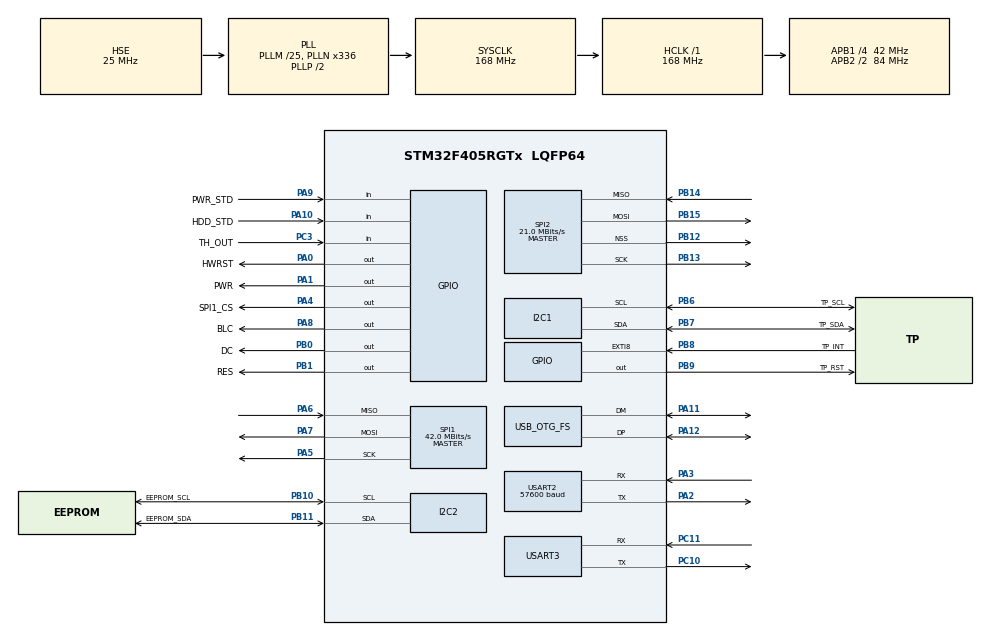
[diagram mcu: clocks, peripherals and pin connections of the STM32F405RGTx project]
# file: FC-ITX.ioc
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Dma.Request0=USART3_RX
Dma.Request1=USART2_RX
Dma.Request2=SPI1_TX
Dma.SPI1_TX.2.Direction=DMA_MEMORY_TO_PERIPH
Dma.SPI1_TX.2.FIFOMode=DMA_FIFOMODE_DISABLE
Dma.SPI1_TX.2.Instance=DMA2_Stream3
Dma.SPI1_TX.2.MemDataAlignment=DMA_MDATAALIGN_BYTE
Dma.SPI1_TX.2.MemInc=DMA_MINC_ENABLE
Dma.SPI1_TX.2.Mode=DMA_NORMAL
Dma.SPI1_TX.2.PeriphDataAlignment=DMA_PDATAALIGN_BYTE
Dma.SPI1_TX.2.PeriphInc=DMA_PINC_DISABLE
Dma.SPI1_TX.2.Priority=DMA_PRIORITY_VERY_HIGH
Dma.USART2_RX.1.Direction=DMA_PERIPH_TO_MEMORY
Dma.USART2_RX.1.FIFOMode=DMA_FIFOMODE_DISABLE
Dma.USART2_RX.1.Instance=DMA1_Stream5
Dma.USART2_RX.1.MemDataAlignment=DMA_MDATAALIGN_BYTE
Dma.USART2_RX.1.MemInc=DMA_MINC_ENABLE
Dma.USART2_RX.1.Mode=DMA_NORMAL
Dma.USART2_RX.1.PeriphDataAlignment=DMA_PDATAALIGN_BYTE
Dma.USART2_RX.1.PeriphInc=DMA_PINC_DISABLE
Dma.USART2_RX.1.Priority=DMA_PRIORITY_LOW
Dma.USART3_RX.0.Direction=DMA_PERIPH_TO_MEMORY
Dma.USART3_RX.0.FIFOMode=DMA_FIFOMODE_DISABLE
Dma.USART3_RX.0.Instance=DMA1_Stream1
Dma.USART3_RX.0.MemDataAlignment=DMA_MDATAALIGN_BYTE
Dma.USART3_RX.0.MemInc=DMA_MINC_ENABLE
Dma.USART3_RX.0.Mode=DMA_NORMAL
Dma.USART3_RX.0.PeriphDataAlignment=DMA_PDATAALIGN_BYTE
Dma.USART3_RX.0.PeriphInc=DMA_PINC_DISABLE
Dma.USART3_RX.0.Priority=DMA_PRIORITY_LOW
Mcu.Family=STM32F4
Mcu.Name=STM32F405RGTx
Mcu.Package=LQFP64
NVIC.DMA1_Stream1_IRQn=true\:0\:0\:false\:false\:true\:false\:true\:true
NVIC.DMA1_Stream5_IRQn=true\:0\:0\:false\:false\:true\:false\:true\:true
NVIC.DMA2_Stream3_IRQn=true\:0\:0\:false\:false\:true\:false\:true\:true
NVIC.EXTI9_5_IRQn=true\:0\:0\:false\:false\:true\:true\:true\:true
NVIC.I2C1_ER_IRQn=true\:0\:0\:false\:false\:true\:true\:true\:true
NVIC.I2C1_EV_IRQn=true\:0\:0\:false\:false\:true\:true\:true\:true
NVIC.I2C2_ER_IRQn=true\:0\:0\:false\:false\:true\:true\:true\:true
NVIC.I2C2_EV_IRQn=true\:0\:0\:false\:false\:true\:true\:true\:true
NVIC.OTG_FS_IRQn=true\:0\:0\:false\:false\:true\:false\:true\:true
NVIC.PriorityGroup=NVIC_PRIORITYGROUP_4
NVIC.TIM6_DAC_IRQn=true\:1\:0\:true\:false\:true\:true\:true\:true
NVIC.TIM7_IRQn=true\:0\:0\:false\:false\:true\:true\:true\:true
NVIC.USART2_IRQn=true\:0\:0\:false\:false\:true\:true\:true\:true
NVIC.USART3_IRQn=true\:0\:0\:false\:false\:true\:true\:true\:true
PA0-WKUP.GPIO_Label=HWRST
PA0-WKUP.Signal=GPIO_Output
PA1.GPIO_Label=PWR
PA1.Signal=GPIO_Output
PA10.GPIO_Label=HDD_STD
PA10.Signal=GPIO_Input
PA11.Mode=Device_Only
PA11.Signal=USB_OTG_FS_DM
PA12.Mode=Device_Only
PA12.Signal=USB_OTG_FS_DP
PA2.Mode=Asynchronous
PA2.Signal=USART2_TX
PA3.GPIO_PuPd=GPIO_PULLUP
PA3.Mode=Asynchronous
PA3.Signal=USART2_RX
PA4.GPIO_Label=SPI1_CS
PA4.GPIO_PuPd=GPIO_PULLUP
PA4.PinState=GPIO_PIN_SET
PA4.Signal=GPIO_Output
PA5.Mode=Full_Duplex_Master
PA5.Signal=SPI1_SCK
PA6.Mode=Full_Duplex_Master
PA6.Signal=SPI1_MISO
PA7.Mode=Full_Duplex_Master
PA7.Signal=SPI1_MOSI
PA8.GPIO_Label=BLC
PA8.GPIO_ModeDefaultOutputPP=GPIO_MODE_OUTPUT_PP
PA8.GPIO_PuPd=GPIO_PULLDOWN
PA8.Signal=GPIO_Output
PA9.GPIO_Label=PWR_STD
PA9.Signal=GPIO_Input
PB0.GPIO_Label=DC
PB0.GPIO_PuPd=GPIO_PULLUP
PB0.Signal=GPIO_Output
PB1.GPIO_Label=RES
PB1.GPIO_PuPd=GPIO_PULLUP
PB1.PinState=GPIO_PIN_SET
PB1.Signal=GPIO_Output
PB10.GPIO_Label=EEPROM_SCL
PB10.Mode=I2C
PB10.Signal=I2C2_SCL
PB11.GPIO_Label=EEPROM_SDA
PB11.Mode=I2C
PB11.Signal=I2C2_SDA
PB12.Mode=NSS_Signal_Hard_Output
PB12.Signal=SPI2_NSS
PB13.Mode=Full_Duplex_Master
PB13.Signal=SPI2_SCK
PB14.Mode=Full_Duplex_Master
PB14.Signal=SPI2_MISO
PB15.Mode=Full_Duplex_Master
PB15.Signal=SPI2_MOSI
PB6.GPIO_Label=TP_SCL
PB6.GPIO_Pu=GPIO_PULLUP
PB6.Mode=I2C
PB6.Signal=I2C1_SCL
PB7.GPIO_Label=TP_SDA
PB7.GPIO_Pu=GPIO_PULLUP
PB7.Mode=I2C
PB7.Signal=I2C1_SDA
PB8.GPIO_Label=TP_INT
PB8.GPIO_ModeDefaultEXTI=GPIO_MODE_IT_FALLING
PB8.GPIO_PuPd=GPIO_PULLUP
PB8.Signal=GPXTI8
PB9.GPIO_Label=TP_RST
PB9.GPIO_PuPd=GPIO_PULLUP
PB9.PinState=GPIO_PIN_SET
PB9.Signal=GPIO_Output
PC10.Mode=Asynchronous
PC10.Signal=USART3_TX
PC11.Mode=Asynchronous
PC11.Signal=USART3_RX
PC14-OSC32_IN.Mode=LSE-External-Oscillator
PC14-OSC32_IN.Signal=RCC_OSC32_IN
PC15-OSC32_OUT.Mode=LSE-External-Oscillator
PC15-OSC32_OUT.Signal=RCC_OSC32_OUT
PC3.GPIO_Label=TH_OUT
PC3.Signal=GPIO_Input
PH0-OSC_IN.Mode=HSE-External-Oscillator
PH0-OSC_IN.Signal=RCC_OSC_IN
PH1-OSC_OUT.Mode=HSE-External-Oscillator
PH1-OSC_OUT.Signal=RCC_OSC_OUT
ProjectManager.HeapSize=0x2000
ProjectManager.StackSize=0x2000
ProjectManager.TargetToolchain=MDK-ARM V5.32
RCC.48MHZClocksFreq_Value=48000000
RCC.AHBFreq_Value=168000000
RCC.APB1CLKDivider=RCC_HCLK_DIV4
RCC.APB1Freq_Value=42000000
RCC.APB1TimFreq_Value=84000000
RCC.APB2CLKDivider=RCC_HCLK_DIV2
RCC.APB2Freq_Value=84000000
RCC.APB2TimFreq_Value=168000000
RCC.CortexFreq_Value=168000000
RCC.HCLKFreq_Value=168000000
RCC.HSE_VALUE=25000000
RCC.HSI_VALUE=16000000
RCC.PLLM=25
RCC.PLLN=336
RCC.PLLQ=7
RCC.SYSCLKFreq_VALUE=168000000
RCC.SYSCLKSource=RCC_SYSCLKSOURCE_PLLCLK
RCC.VCOOutputFreq_Value=336000000
SPI1.BaudRatePrescaler=SPI_BAUDRATEPRESCALER_2
SPI1.CalculateBaudRate=42.0 MBits/s
SPI1.Direction=SPI_DIRECTION_2LINES
SPI1.Mode=SPI_MODE_MASTER
SPI1.VirtualType=VM_MASTER
SPI2.CalculateBaudRate=21.0 MBits/s
SPI2.Direction=SPI_DIRECTION_2LINES
SPI2.Mode=SPI_MODE_MASTER
SPI2.VirtualNSS=VM_NSSHARD
SPI2.VirtualType=VM_MASTER
TIM6.Period=4999
TIM6.Prescaler=8399
TIM7.Period=999
TIM7.Prescaler=83
USART2.BaudRate=57600
USART2.VirtualMode=VM_ASYNC
USART3.VirtualMode=VM_ASYNC
USB_DEVICE.CLASS_NAME_FS=CDC
USB_DEVICE.MANUFACTURER_STRING-CDC_FS=yaoohui
USB_DEVICE.PRODUCT_STRING_CDC_FS=FC-ITX COM
USB_DEVICE.VirtualMode-CDC_FS=Cdc
USB_DEVICE.VirtualModeFS=Cdc_FS
USB_OTG_FS.VirtualMode=Device_Only
VP_TIM6_VS_ClockSourceINT.Mode=Enable_Timer
VP_TIM7_VS_ClockSourceINT.Mode=Enable_Timer
VP_USB_DEVICE_VS_USB_DEVICE_CDC_FS.Mode=CDC_FS
board=custom

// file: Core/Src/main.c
/* USER CODE BEGIN Header */
/**
  ******************************************************************************
  * @file           : main.c
  * @brief          : Main program body
  ******************************************************************************
  * @attention
  *
  * Copyright (c) 2024 STMicroelectronics.
  * All rights reserved.
  *
  * This software is licensed under terms that can be found in the LICENSE file
  * in the root directory of this software component.
  * If no LICENSE file comes with this software, it is provided AS-IS.
  *
  ******************************************************************************
  */
/* USER CODE END Header */
#include "main.h"
#include "dma.h"
#include "i2c.h"
#include "spi.h"
#include "tim.h"
#include "usart.h"
#include "usb_device.h"
#include "gpio.h"

/* USER CODE BEGIN Includes */

/*@@@@@@@@@@@@@@@@@@@@@@@@@@@@@@@@@@@@@@@@@@@@@@@@@@@@@@@@@@@@@@@@@@@@@@@@@@@@*/

#include "io.h"
#include "stdio.h"
#include "string.h"
#include "commandprocess.h"
#include "fingerprint.h"
#include "lcd_st7789v.h"
#include "touch_CST816D.h"
#include "lvgl.h"
#include "lv_conf.h"
#include "lv_port_disp.h"
#include "lv_port_indev.h"
//#include "ui.h"
#include "gui_guider.h"
#include "events_init.h"
#include "custom.h"
#include "eeprom_24c02.h"
#include "usbd_cdc_if.h"

/*############################################################################*/

/* USER CODE END Includes */

/* USER CODE BEGIN PV */

/*@@@@@@@@@@@@@@@@@@@@@@@@@@@@@@@@@@@@@@@@@@@@@@@@@@@@@@@@@@@@@@@@@@@@@@@@@@@@*/

volatile unsigned int LocalTime;	// 本地时间，单位：ms
bool tp_flag = false;		// 触摸标志位
bool fp_flag = false;		// 指纹触摸标志位
bool timer_500ms_flag = false; //500ms定时器标志位
bool begin_fb_flag = false;
lv_ui guider_ui;
volatile uint8_t touch_IRQ = 0;		// 触摸中断次数
char password[8] = {0,0,0,0,0,0,0,0};
uint8_t black_screen_settings[2] = {0,0};
uint8_t screensaver_settings[2] = {0,0};
uint16_t power_off_count = 0; //关机计数器
uint16_t screensaver_count = 0; // 屏幕保护计数器
uint8_t ver[4] = {0,1,0,1};

/*############################################################################*/

/* USER CODE END PV */

void SystemClock_Config(void);
/* USER CODE BEGIN PFP */

/*@@@@@@@@@@@@@@@@@@@@@@@@@@@@@@@@@@@@@@@@@@@@@@@@@@@@@@@@@@@@@@@@@@@@@@@@@@@@*/

// 输出时钟信息
static void Output_System_Clock_Info(void);

// 串口初始化
void Serial_Init(void);

/*############################################################################*/

/* USER CODE END PFP */

int main(void)
{

  /* MCU Configuration--------------------------------------------------------*/

  /* Reset of all peripherals, Initializes the Flash interface and the Systick. */
  HAL_Init();

  /* Configure the system clock */
  SystemClock_Config();

  /* Initialize all configured peripherals */
  MX_GPIO_Init();
  MX_DMA_Init();
  MX_I2C1_Init();
  MX_I2C2_Init();
  MX_SPI1_Init();
  MX_SPI2_Init();
  MX_USART2_UART_Init();
  MX_USART3_UART_Init();
  MX_TIM6_Init();
  MX_TIM7_Init();
  MX_USB_DEVICE_Init();
  /* USER CODE BEGIN 2 */

/*@@@@@@@@@@@@@@@@@@@@@@@@@@@@@@@@@@@@@@@@@@@@@@@@@@@@@@@@@@@@@@@@@@@@@@@@@@@@*/

	// 串口初始化
	Serial_Init();

	// 输出时钟信息
	Output_System_Clock_Info();

	// 屏幕初始化
	ST7789V_Init();
	ST7789V_Display_On();
	LCD_BL(1);

	// 触摸初始化
	CST816D_Init();

	// 开启TIM7，1ms，用于LVGL心跳
	HAL_TIM_Base_Start_IT(&htim7);

	lv_init();
	lv_port_disp_init();
	lv_port_indev_init();
	printf("LVGL初始化完成!\r\n");

	// 输出指纹模块信息
	Fingerprintf_Init();

	// 开启TIM6，500ms，用于指纹检测定时
	HAL_TIM_Base_Start_IT(&htim6);

	// 检查24C02并读取密码
	if(AT24CXX_Check() == 0)
	{
		printf("24C02读取正常!\r\n");

		// 读取密码
		AT24C02_read(0, (uint8_t*)password, 7);

		printf("password: %s\r\n", password);

    // 读取关机黑屏设置
		AT24C02_read(9, black_screen_settings, 2);

		printf("black_screen_enable = %d\r\n", black_screen_settings[0]);
		printf("black_screen_delay = %dS\r\n", black_screen_settings[1]);

    if(black_screen_settings[0])
    {
      black_screen_mode = true;
    }
    else
    {
      black_screen_mode = false;
    }

    black_screen_delay = black_screen_settings[1];

    // 读取屏保设置
		AT24C02_read(11, screensaver_settings, 2);

		printf("screensaver_enable = %d\r\n", screensaver_settings[0]);
		printf("screensaver_delay = %dS\r\n", screensaver_settings[1]);

    if(black_screen_settings[0])
    {
      screensaver_mode = true;
    }
    else
    {
      screensaver_mode = false;
    }

    screensaver_delay = screensaver_settings[1];
	}
	else
	{
		printf("24C02读取失败!\r\n");
	}

//	lv_demo_widgets();
//	lv_demo_benchmark();
//	lv_demo_stress();
//	lv_demo_keypad_encoder();
//	lv_demo_music();

//	ui_init();
	setup_ui(&guider_ui);
	events_init(&guider_ui);
	custom_init(&guider_ui);

/*############################################################################*/

  /* USER CODE END 2 */

  /* Infinite loop */
  /* USER CODE BEGIN WHILE */
  while (1)
  {

/*@@@@@@@@@@@@@@@@@@@@@@@@@@@@@@@@@@@@@@@@@@@@@@@@@@@@@@@@@@@@@@@@@@@@@@@@@@@@*/

		// 处理串口数据
		Command_Process();

    // 检测开机状态
    Check_PWR_Std();

    // 关机后30秒没有动作，屏幕进入黑屏状态
    if((pwr_flag == 0) && timer_500ms_flag && LED_BL_STD && black_screen_mode)
    {
      power_off_count++;
      timer_500ms_flag = false;
      if(power_off_count > black_screen_delay * 120)
      {
        LCD_BL(0); // LCD背光熄灭
      }
    }

    // 3分钟无操作，进入屏幕保护模式，黑屏
    if(timer_500ms_flag && LED_BL_STD && screensaver_mode)
    {
      screensaver_count++;
      timer_500ms_flag = false;
      if(screensaver_count > (screensaver_delay * 120)) // 3分钟
      {
        LCD_BL(0); // LCD背光熄灭
      }
    }

		// 检查指纹，指纹识别模式，并且屏幕亮的时候检测
		if(fp_flag && begin_fb_flag && LED_BL_STD)
		{
			Check_Fingerprint();
			fp_flag = false;
		}

		// 读取触摸位置
		if(tp_flag)
		{
			LCD_BL(1); // LCD背光点亮
      power_off_count = 0;
      screensaver_count = 0;
			tp_pressed = 1;

//      touch_IRQ++;
//			if(touch_IRQ > 13)
//			{
//				touch_IRQ = 0;
//				CST816D_Scan();
//			}
			tp_flag = false;
//			HAL_NVIC_EnableIRQ(EXTI9_5_IRQn);
		}

		if(Fingerprint_Register_Flag)
		{
			Fingerprint_Register_At(FP_Num);
		}

		lv_task_handler();

/*############################################################################*/

    /* USER CODE END WHILE */

  }
}

void SystemClock_Config(void)
{
  RCC_OscInitTypeDef RCC_OscInitStruct = {0};
  RCC_ClkInitTypeDef RCC_ClkInitStruct = {0};

  /** Configure the main internal regulator output voltage
  */
  __HAL_RCC_PWR_CLK_ENABLE();
  __HAL_PWR_VOLTAGESCALING_CONFIG(PWR_REGULATOR_VOLTAGE_SCALE1);

  /** Initializes the RCC Oscillators according to the specified parameters
  * in the RCC_OscInitTypeDef structure.
  */
  RCC_OscInitStruct.OscillatorType = RCC_OSCILLATORTYPE_HSE;
  RCC_OscInitStruct.HSEState = RCC_HSE_ON;
  RCC_OscInitStruct.PLL.PLLState = RCC_PLL_ON;
  RCC_OscInitStruct.PLL.PLLSource = RCC_PLLSOURCE_HSE;
  RCC_OscInitStruct.PLL.PLLM = 25;
  RCC_OscInitStruct.PLL.PLLN = 336;
  RCC_OscInitStruct.PLL.PLLP = RCC_PLLP_DIV2;
  RCC_OscInitStruct.PLL.PLLQ = 7;
  if (HAL_RCC_OscConfig(&RCC_OscInitStruct) != HAL_OK)
  {
    Error_Handler();
  }

  /** Initializes the CPU, AHB and APB buses clocks
  */
  RCC_ClkInitStruct.ClockType = RCC_CLOCKTYPE_HCLK|RCC_CLOCKTYPE_SYSCLK
                              |RCC_CLOCKTYPE_PCLK1|RCC_CLOCKTYPE_PCLK2;
  RCC_ClkInitStruct.SYSCLKSource = RCC_SYSCLKSOURCE_PLLCLK;
  RCC_ClkInitStruct.AHBCLKDivider = RCC_SYSCLK_DIV1;
  RCC_ClkInitStruct.APB1CLKDivider = RCC_HCLK_DIV4;
  RCC_ClkInitStruct.APB2CLKDivider = RCC_HCLK_DIV2;

  if (HAL_RCC_ClockConfig(&RCC_ClkInitStruct, FLASH_LATENCY_5) != HAL_OK)
  {
    Error_Handler();
  }
}

/* USER CODE BEGIN 4 */

/*@@@@@@@@@@@@@@@@@@@@@@@@@@@@@@@@@@@@@@@@@@@@@@@@@@@@@@@@@@@@@@@@@@@@@@@@@@@@*/

/**
  * @brief  微秒延时 。
  * @param  us：时长。
  * @retval None.
  */
void HAL_Delay_us(uint32_t us)
{
	HAL_SYSTICK_Config(HAL_RCC_GetHCLKFreq() / 1000000);
	HAL_Delay(us - 1);
	HAL_SYSTICK_Config(HAL_RCC_GetHCLKFreq() / 1000);
}

/**
  * @brief  输出时钟频率。
  * @param  None.
  * @retval None.
  */
static void Output_System_Clock_Info(void)
{
	uint32_t SysClock = 0, HclkClock = 0, Pclk1Clock = 0, Pclk2Clock = 0;

	SysClock = HAL_RCC_GetSysClockFreq();
	HclkClock = HAL_RCC_GetHCLKFreq();
	Pclk1Clock = HAL_RCC_GetPCLK1Freq();
	Pclk2Clock = HAL_RCC_GetPCLK2Freq();

	printf("SYSCLK= %d Hz, HCLK= %d Hz, PCLK1= %d Hz, PCLK2= %d Hz\r\n",
					SysClock, HclkClock, Pclk1Clock, Pclk2Clock);
	printf("\r\n");
}

/**
  * @brief  串口接收回调函数
  * @param  None.
  * @retval None.
  */
void Serial_Init(void)
{
	/* 需要在初始化时调用一次否则无法接收到内容 */
	HAL_UARTEx_ReceiveToIdle_DMA(&huart2, Usart2RxBuffer, MAX_USART_SIZE);
	__HAL_DMA_DISABLE_IT(&hdma_usart2_rx, DMA_IT_HT);		   // 手动关闭DMA_IT_HT中断

	/* 需要在初始化时调用一次否则无法接收到内容 */
	HAL_UARTEx_ReceiveToIdle_DMA(&huart3, Usart3RxBuffer, MAX_USART_SIZE);
	__HAL_DMA_DISABLE_IT(&hdma_usart3_rx, DMA_IT_HT);		   // 手动关闭DMA_IT_HT中断
}

/**
  * @brief  串口接收回调函数
  * @param  None.
  * @retval None.
  */
void HAL_UARTEx_RxEventCallback(UART_HandleTypeDef * huart, uint16_t Size)
{
	if(huart->Instance == USART2)
	{
		if (Size <= MAX_USART_SIZE)
		{
//			printf("串口2接收到数据\r\n");
//			for(uint8_t i = 0; i < Size; i++)
//				printf("%02X ", Usart2RxBuffer[i]);
//			printf("\r\n");

			Usart2RxFlag = 1;
			Usart2RxLength = Size;

			HAL_UARTEx_ReceiveToIdle_DMA(&huart2, Usart2RxBuffer, MAX_USART_SIZE);   // 接收完毕后重启
			__HAL_DMA_DISABLE_IT(&hdma_usart2_rx, DMA_IT_HT);                        // 手动关闭DMA_IT_HT中断
		}
		else  // 接收数据长度大于BUFF_SIZE，错误处理
		{

		}
	}

	if(huart->Instance == USART3)
	{
		if (Size <= MAX_USART_SIZE)
		{
			Usart3RxFlag = 1;
			Usart3RxLength = Size;

//			HAL_UARTEx_ReceiveToIdle_DMA(&huart3, Usart3RxBuffer, MAX_USART_SIZE);   // 接收完毕后重启
//			__HAL_DMA_DISABLE_IT(&hdma_usart3_rx, DMA_IT_HT);                        // 手动关闭DMA_IT_HT中断
//			printf("串口3接收到数据\r\n");
		}
		else  // 接收数据长度大于BUFF_SIZE，错误处理
		{

		}
	}
}

/**
  * @brief  串口错误回调函数
  * @param  None.
  * @retval None.
  */
void HAL_UART_ErrorCallback(UART_HandleTypeDef * huart)
{
	if(huart->Instance == USART2)
	{
		HAL_UARTEx_ReceiveToIdle_DMA(&huart2, Usart2RxBuffer, MAX_USART_SIZE);      // 接收发生错误后重启
		__HAL_DMA_DISABLE_IT(&hdma_usart2_rx, DMA_IT_HT);                           // 手动关闭DMA_IT_HT中断
		memset(Usart2RxBuffer, 0, MAX_USART_SIZE);                                  // 清除接收缓存
	}

	if(huart->Instance == USART3)
	{
		HAL_UARTEx_ReceiveToIdle_DMA(&huart3, Usart3RxBuffer, MAX_USART_SIZE);      // 接收发生错误后重启
		__HAL_DMA_DISABLE_IT(&hdma_usart3_rx, DMA_IT_HT);                           // 手动关闭DMA_IT_HT中断
		memset(Usart3RxBuffer, 0, MAX_USART_SIZE);                                  // 清除接收缓存
	}
}

/**
  * @brief  触摸中断回调函数
  * @param  None.
  * @retval None.
  */
void HAL_GPIO_EXTI_Callback(uint16_t GPIO_Pin)
{
	if(GPIO_Pin == TP_INT_Pin)
	{
		tp_flag = true;
		HAL_NVIC_DisableIRQ(EXTI9_5_IRQn);
//		printf("有触摸!\r\n");
	}
}

/**
  * @brief  触摸500ms定时器中断回调函数
  * @param  None.
  * @retval None.
  */
void HAL_TIM_PeriodElapsedCallback(TIM_HandleTypeDef *htim)
{
	if(htim->Instance == TIM6)
	{
		fp_flag = true;
    timer_500ms_flag = true;
	}

	if(htim->Instance == TIM7)
	{
		lv_tick_inc(1);		// 给LVGL提供1ms的心跳时期
	}
}

/*############################################################################*/

/* USER CODE END 4 */

void Error_Handler(void)
{
  __disable_irq();
  while (1)
  {
  }
}
